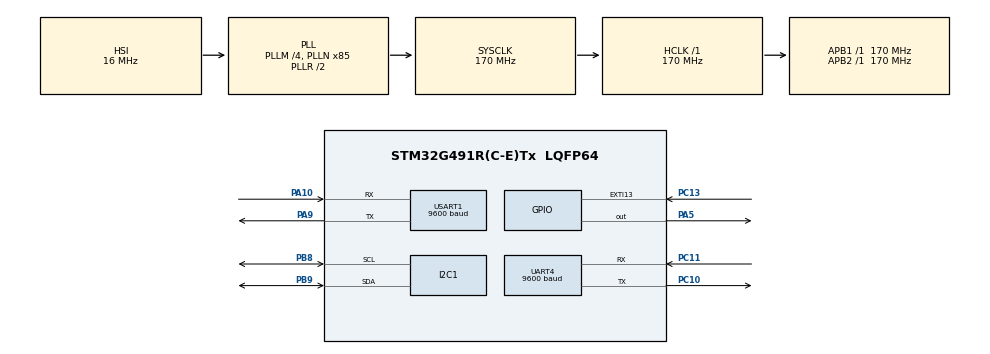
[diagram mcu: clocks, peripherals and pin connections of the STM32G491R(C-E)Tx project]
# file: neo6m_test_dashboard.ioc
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I2C1.Timing=0x40B285C2
Mcu.Family=STM32G4
Mcu.Name=STM32G491R(C-E)Tx
Mcu.Package=LQFP64
NUCLEO-G491RE.BUTTON=1
NUCLEO-G491RE.LD2=true
NUCLEO-G491RE.VCP=true
NVIC.EXTI15_10_IRQn=true\:0\:0\:false\:false\:true\:true\:true\:true
NVIC.PriorityGroup=NVIC_PRIORITYGROUP_4
NVIC.UART4_IRQn=true\:0\:0\:false\:false\:true\:true\:true\:true
NVIC.USART1_IRQn=true\:0\:0\:false\:false\:true\:true\:true\:true
PA10.Mode=Asynchronous
PA10.Signal=USART1_RX
PA13.GPIO_Label=T_SWDIO
PA13.Mode=Serial_Wire
PA13.Signal=SYS_JTMS-SWDIO
PA14.GPIO_Label=T_SWCLK
PA14.Mode=Serial_Wire
PA14.Signal=SYS_JTCK-SWCLK
PA2.Signal=LPUART1_TX
PA3.Signal=LPUART1_RX
PA5.Signal=GPIO_Output
PA9.Mode=Asynchronous
PA9.Signal=USART1_TX
PB3.GPIO_Label=T_SWO
PB3.Signal=SYS_JTDO-SWO
PB8-BOOT0.Mode=I2C
PB8-BOOT0.Signal=I2C1_SCL
PB9.Mode=I2C
PB9.Signal=I2C1_SDA
PC10.Mode=Asynchronous
PC10.Signal=UART4_TX
PC11.Mode=Asynchronous
PC11.Signal=UART4_RX
PC13.Signal=GPXTI13
PC14-OSC32_IN.GPIO_Label=RCC_OSC32_IN
PC14-OSC32_IN.Signal=RCC_OSC32_IN
PC15-OSC32_OUT.GPIO_Label=RCC_OSC32_OUT
PC15-OSC32_OUT.Signal=RCC_OSC32_OUT
PF0-OSC_IN.GPIO_Label=RCC_OSC_IN
PF0-OSC_IN.Signal=RCC_OSC_IN
PF1-OSC_OUT.GPIO_Label=RCC_OSC_OUT
PF1-OSC_OUT.Signal=RCC_OSC_OUT
ProjectManager.HeapSize=0x200
ProjectManager.StackSize=0x400
ProjectManager.TargetToolchain=STM32CubeIDE
RCC.ADC12Freq_Value=170000000
RCC.ADC345Freq_Value=170000000
RCC.AHBFreq_Value=170000000
RCC.APB1Freq_Value=170000000
RCC.APB1TimFreq_Value=170000000
RCC.APB2Freq_Value=170000000
RCC.APB2TimFreq_Value=170000000
RCC.CortexFreq_Value=170000000
RCC.EXTERNAL_CLOCK_VALUE=12288000
RCC.HCLKFreq_Value=170000000
RCC.HSE_VALUE=24000000
RCC.HSI48_VALUE=48000000
RCC.HSI_VALUE=16000000
RCC.LSE_VALUE=32768
RCC.PLLM=RCC_PLLM_DIV4
RCC.PLLN=85
RCC.RTCClockSelection=RCC_RTCCLKSOURCE_LSE
RCC.SYSCLKFreq_VALUE=170000000
RCC.SYSCLKSource=RCC_SYSCLKSOURCE_PLLCLK
RCC.USBFreq_Value=48000000
RCC.VCOOutputFreq_Value=340000000
UART4.BaudRate=9600
USART1.BaudRate=9600
USART1.VirtualMode-Asynchronous=VM_ASYNC
VP_NUCLEO-G491RE_VS_BSP_COMMON.Mode=COMMON
VP_SYS_VS_DBSignals.Mode=DisableDeadBatterySignals
board=NUCLEO-G491RE

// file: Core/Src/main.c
/* USER CODE BEGIN Header */
/**
  ******************************************************************************
  * @file           : main.c
  * @brief          : Robust GPS & Webhook System with Network Watchdog & LED Debug
  * @hardware       : STM32G491RE, SIM900A (UART1), NEO-6M (UART4), OLED (I2C1)
  ******************************************************************************
  */
/* USER CODE END Header */
#include "main.h"
#include <string.h>
#include "stdlib.h"
#include <stdio.h>

#define RX_BUF_SIZE 512
#define SSD1306_I2C_ADDR 0x78
#define BATCH_SIZE 10 // Number of readings to batch before POSTing

I2C_HandleTypeDef hi2c1;
UART_HandleTypeDef huart1;
UART_HandleTypeDef huart4;

volatile char sim_rx_buffer[RX_BUF_SIZE];
volatile uint16_t sim_rx_index = 0;
uint8_t sim_rx_byte;

/* 5x7 Font Matrix for OLED */
const uint8_t Font5x7[][5] = {
    {0x00, 0x00, 0x00, 0x00, 0x00}, {0x00, 0x00, 0x5F, 0x00, 0x00}, {0x00, 0x07, 0x00, 0x07, 0x00}, {0x14, 0x7F, 0x14, 0x7F, 0x14},
    {0x24, 0x2A, 0x7F, 0x2A, 0x12}, {0x23, 0x13, 0x08, 0x64, 0x62}, {0x36, 0x49, 0x55, 0x22, 0x50}, {0x00, 0x05, 0x03, 0x00, 0x00},
    {0x00, 0x1C, 0x22, 0x41, 0x00}, {0x00, 0x41, 0x22, 0x1C, 0x00}, {0x14, 0x08, 0x3E, 0x08, 0x14}, {0x08, 0x08, 0x3E, 0x08, 0x08},
    {0x00, 0x50, 0x30, 0x00, 0x00}, {0x08, 0x08, 0x08, 0x08, 0x08}, {0x00, 0x60, 0x60, 0x00, 0x00}, {0x20, 0x10, 0x08, 0x04, 0x02},
    {0x3E, 0x51, 0x49, 0x45, 0x3E}, {0x00, 0x42, 0x7F, 0x40, 0x00}, {0x42, 0x61, 0x51, 0x49, 0x46}, {0x21, 0x41, 0x45, 0x4B, 0x31},
    {0x18, 0x14, 0x12, 0x7F, 0x10}, {0x27, 0x45, 0x45, 0x45, 0x39}, {0x3C, 0x4A, 0x49, 0x49, 0x30}, {0x01, 0x71, 0x09, 0x05, 0x03},
    {0x36, 0x49, 0x49, 0x49, 0x36}, {0x06, 0x49, 0x49, 0x29, 0x1E}, {0x00, 0x36, 0x36, 0x00, 0x00}, {0x00, 0x56, 0x36, 0x00, 0x00},
    {0x08, 0x14, 0x22, 0x41, 0x00}, {0x24, 0x24, 0x24, 0x24, 0x24}, {0x00, 0x41, 0x22, 0x14, 0x08}, {0x02, 0x01, 0x51, 0x09, 0x06},
    {0x32, 0x49, 0x79, 0x41, 0x3E}, {0x7C, 0x12, 0x11, 0x12, 0x7C}, {0x7F, 0x49, 0x49, 0x49, 0x36}, {0x3E, 0x41, 0x41, 0x41, 0x22},
    {0x7F, 0x41, 0x41, 0x22, 0x1C}, {0x7F, 0x49, 0x49, 0x49, 0x41}, {0x7F, 0x09, 0x09, 0x09, 0x01}, {0x3E, 0x41, 0x49, 0x49, 0x7A},
    {0x7F, 0x08, 0x08, 0x08, 0x7F}, {0x00, 0x41, 0x7F, 0x41, 0x00}, {0x20, 0x40, 0x41, 0x3F, 0x01}, {0x7F, 0x08, 0x14, 0x22, 0x41},
    {0x7F, 0x40, 0x40, 0x40, 0x40}, {0x7F, 0x02, 0x0C, 0x02, 0x7F}, {0x7F, 0x04, 0x08, 0x10, 0x7F}, {0x3E, 0x41, 0x41, 0x41, 0x3E},
    {0x7F, 0x09, 0x09, 0x09, 0x06}, {0x3E, 0x41, 0x51, 0x21, 0x5E}, {0x7F, 0x09, 0x19, 0x29, 0x46}, {0x46, 0x49, 0x49, 0x49, 0x31},
    {0x01, 0x01, 0x7F, 0x01, 0x01}, {0x3F, 0x40, 0x40, 0x40, 0x3F}, {0x1F, 0x20, 0x40, 0x20, 0x1F}, {0x3F, 0x40, 0x38, 0x40, 0x3F},
    {0x63, 0x14, 0x08, 0x14, 0x63}, {0x07, 0x08, 0x70, 0x08, 0x07}, {0x61, 0x51, 0x49, 0x45, 0x43}
};

void SystemClock_Config(void);
static void MX_GPIO_Init(void);
static void MX_I2C1_Init(void);
static void MX_USART1_UART_Init(void);
static void MX_UART4_Init(void);

void OLED_WriteCmd(uint8_t cmd);
void OLED_Init(void);
void OLED_Clear(void);
void OLED_PrintString(const char* str, uint8_t page, uint8_t col);

void LED_Pulse(uint8_t count, uint32_t delay_ms);
void Flush_SIM_Buffer(void);
uint8_t send_sim_cmd(char *cmd, char *expected_response, uint32_t timeout);
uint8_t Ensure_Network(void);
uint8_t send_http_post(char *url, char *body);
void fetch_sim_time(char *date_out, char *time_out);
void fetch_gps_data(char *lat_out, char *lon_out);

/* USER CODE BEGIN 0 */

/* ================= LED DEBUG LOGIC ================= */
void LED_Pulse(uint8_t count, uint32_t delay_ms) {
    for (int i = 0; i < count; i++) {
        HAL_GPIO_WritePin(GPIOA, GPIO_PIN_5, GPIO_PIN_SET);
        HAL_Delay(delay_ms);
        HAL_GPIO_WritePin(GPIOA, GPIO_PIN_5, GPIO_PIN_RESET);
        if (i < count - 1) HAL_Delay(delay_ms);
    }
}

/* ================= OLED DRIVERS ================= */
void OLED_WriteCmd(uint8_t cmd) {
    HAL_I2C_Mem_Write(&hi2c1, SSD1306_I2C_ADDR, 0x00, 1, &cmd, 1, 20);
}

void OLED_Init(void) {
    HAL_Delay(100);
    OLED_WriteCmd(0xAE); OLED_WriteCmd(0x20); OLED_WriteCmd(0x10);
    OLED_WriteCmd(0xB0); OLED_WriteCmd(0x00); OLED_WriteCmd(0x10);
    OLED_WriteCmd(0xC8); OLED_WriteCmd(0xA1); OLED_WriteCmd(0x8D);
    OLED_WriteCmd(0x14); OLED_WriteCmd(0xAF);
    HAL_Delay(100);
    OLED_Clear();
}

void OLED_Clear(void) {
    uint8_t blank_buffer[128] = {0};
    for (uint8_t i = 0; i < 8; i++) {
        OLED_WriteCmd(0xB0 + i);
        OLED_WriteCmd(0x00);
        OLED_WriteCmd(0x10);
        HAL_I2C_Mem_Write(&hi2c1, SSD1306_I2C_ADDR, 0x40, 1, blank_buffer, 128, 50);
    }
}

void OLED_PrintString(const char* str, uint8_t page, uint8_t col) {
    while (*str) {
        char c = *str++;
        if (c < 32 || c > 90) {
            if (c >= 'a' && c <= 'z') c -= 32; else c = ' ';
        }
        uint8_t font_idx = c - 32;
        OLED_WriteCmd(0xB0 + page);
        OLED_WriteCmd(col & 0x0F);
        OLED_WriteCmd(0x10 | ((col >> 4) & 0x0F));
        HAL_I2C_Mem_Write(&hi2c1, SSD1306_I2C_ADDR, 0x40, 1, (uint8_t*)Font5x7[font_idx], 5, 20);
        col += 6;
        if (col > 122) break;
    }
}

/* ================= MODEM & GPS LOGIC ================= */
void Flush_SIM_Buffer(void) {
    __disable_irq();
    memset((void*)sim_rx_buffer, 0, RX_BUF_SIZE);
    sim_rx_index = 0;
    __enable_irq();
}

uint8_t send_sim_cmd(char *cmd, char *expected_response, uint32_t timeout) {
    Flush_SIM_Buffer();

    // Clear Overrun Error flags before starting a new command
    __HAL_UART_CLEAR_FLAG(&huart1, UART_CLEAR_OREF);
    __HAL_UART_FLUSH_DRREGISTER(&huart1);

    HAL_UART_Transmit(&huart1, (uint8_t*)cmd, strlen(cmd), 1000);
    uint32_t start_tick = HAL_GetTick();

    while ((HAL_GetTick() - start_tick) < timeout) {
        if (strstr((const char*)sim_rx_buffer, expected_response) != NULL) {
            HAL_Delay(100); // Let the modem finish printing the line
            return 1;
        }

        // WATCHDOG: If UART crashes due to an Overrun Error, clear it and restart listening
        if (__HAL_UART_GET_FLAG(&huart1, UART_FLAG_ORE)) {
            __HAL_UART_CLEAR_FLAG(&huart1, UART_CLEAR_OREF);
            HAL_UART_Receive_IT(&huart1, &sim_rx_byte, 1);
        }

        if (strstr((const char*)sim_rx_buffer, "ERROR") != NULL && strstr(cmd, "HTTPACTION") == NULL) {
            return 0;
        }
    }
    return 0;
}
void fetch_gps_data(char *lat_out, char *lon_out) {
    char rx_buf[128] = {0};
    uint16_t rx_idx = 0;
    uint8_t rx_byte;
    uint32_t start_tick = HAL_GetTick();

    __HAL_UART_CLEAR_FLAG(&huart4, UART_CLEAR_OREF);
    __HAL_UART_FLUSH_DRREGISTER(&huart4);

    OLED_PrintString("GETTING GPS...  ", 0, 0);
    LED_Pulse(1, 50);

    while ((HAL_GetTick() - start_tick) < 1500) { // Slightly longer GPS window
        if (HAL_UART_Receive(&huart4, &rx_byte, 1, 2) == HAL_OK) {
            if (rx_idx < 127) {
                rx_buf[rx_idx++] = rx_byte;
                rx_buf[rx_idx] = '\0';
            }

            if (rx_byte == '\n') {
                char *gga = strstr(rx_buf, "$GPGGA,");
                if (gga != NULL) {
                    char *time_end = strchr(gga + 7, ',');
                    if (time_end) {
                        char *lat_start = time_end + 1;
                        char *lat_end = strchr(lat_start, ',');

                        if (lat_end && (lat_end - lat_start > 1)) {
                            char *ns_start = lat_end + 1;
                            char *ns_end = strchr(ns_start, ',');
                            char *lon_start = ns_end + 1;
                            char *lon_end = strchr(lon_start, ',');

                            if (lon_end && (lon_end - lon_start > 1)) {
                                char *ew_start = lon_end + 1;

                                char temp_lat[15] = {0};
                                char temp_lon[15] = {0};
                                strncpy(temp_lat, lat_start, lat_end - lat_start);
                                strncpy(temp_lon, lon_start, lon_end - lon_start);

                                sprintf(lat_out, "%s %c", temp_lat, ns_start[0]);
                                sprintf(lon_out, "%s %c", temp_lon, ew_start[0]);
                                OLED_PrintString("GPS FIX OK!     ", 0, 0);
                                return;
                            }
                        }
                    }
                }
                rx_idx = 0;
                rx_buf[0] = '\0';
            }
        }
    }

    if(strcmp(lat_out, "") == 0 || strncmp(lat_out, "NO_FIX", 6) == 0) {
        strcpy(lat_out, "NO_FIX");
        strcpy(lon_out, "NO_FIX");
    }
    OLED_PrintString("NO GPS FIX.     ", 0, 0);
}

void fetch_sim_time(char *date_out, char *time_out) {
    if (send_sim_cmd("AT+CCLK?\r\n", "OK", 2000)) {
        char *p = strstr((const char*)sim_rx_buffer, "+CCLK: \"");
        if (p != NULL) {
            p += 8;
            if(strlen(p) >= 17) {
                char yy[3] = {p[0], p[1], '\0'};
                char mo[3] = {p[3], p[4], '\0'};
                char dd[3] = {p[6], p[7], '\0'};
                char hh[3] = {p[9], p[10], '\0'};
                char mi[3] = {p[12], p[13], '\0'};
                char ss[3] = {p[15], p[16], '\0'};

                sprintf(date_out, "%s-%s-20%s", dd, mo, yy);
                sprintf(time_out, "%s:%s:%s", hh, mi, ss);
                return;
            }
        }
    }
    strcpy(date_out, "00-00-0000");
    strcpy(time_out, "00:00:00");
}

/* WATCHDOG: Aggressive check for GPRS attachment and Context */
uint8_t Ensure_Network(void) {
    if (!send_sim_cmd("AT+SAPBR=2,1\r\n", "+SAPBR: 1,1", 2000)) {
        OLED_PrintString("NET DROPPED!    ", 7, 0);

        send_sim_cmd("AT+SAPBR=0,1\r\n", "OK", 2000); // Close broken context
        send_sim_cmd("AT+CGATT=1\r\n", "OK", 4000);   // Re-attach to GPRS

        if(send_sim_cmd("AT+SAPBR=1,1\r\n", "OK", 5000)) {
            OLED_PrintString("NET RESTORED!   ", 7, 0);
            return 1;
        } else {
            OLED_PrintString("NET REPAIR FAIL ", 7, 0);
            return 0;
        }
    }
    return 1; // Network active
}

uint8_t send_http_post(char *url, char *body) {
    char cmd[300];
    OLED_PrintString("POSTING DATA... ", 0, 0);
    OLED_PrintString("HTTP INIT...    ", 7, 0);

    // Hard reset HTTP Stack before new POST
    send_sim_cmd("AT+HTTPTERM\r\n", "OK", 1000);
    HAL_Delay(200);

    if (!send_sim_cmd("AT+HTTPINIT\r\n", "OK", 3000)) {
        OLED_PrintString("HTTP INIT FAIL  ", 7, 0);
        return 0;
    }

    send_sim_cmd("AT+HTTPPARA=\"CID\",1\r\n", "OK", 1000);

    sprintf(cmd, "AT+HTTPPARA=\"URL\",\"%s\"\r\n", url);
    if (!send_sim_cmd(cmd, "OK", 2000)) {
        OLED_PrintString("URL SET FAIL    ", 7, 0);
        send_sim_cmd("AT+HTTPTERM\r\n", "OK", 1000);
        return 0;
    }

    send_sim_cmd("AT+HTTPPARA=\"CONTENT\",\"application/json\"\r\n", "OK", 1000);

    sprintf(cmd, "AT+HTTPDATA=%d,10000\r\n", (int)strlen(body));
    if (send_sim_cmd(cmd, "DOWNLOAD", 4000)) {
            if (send_sim_cmd(body, "OK", 5000)) {

                OLED_PrintString("WAITING AWAIT...", 7, 0);

                // Search for a broader string to account for firmware differences
                if(send_sim_cmd("AT+HTTPACTION=1\r\n", "HTTPACTION:", 45000)) {
                    HAL_Delay(300); // Wait for full string to populate

                    char *ptr = strstr((const char*)sim_rx_buffer, "HTTPACTION:");
                    if (ptr) {
                        char *comma = strchr(ptr, ',');
                        if (comma) {
                            comma++; // Move past the comma
                            while (*comma == ' ') comma++; // Skip any spaces your firmware might inject

                            char code[4] = {0};
                            strncpy(code, comma, 3);

                            if (strncmp(code, "200", 3) == 0) {
                                OLED_PrintString("POST SUCCESS!   ", 0, 0);
                                OLED_PrintString("HTTP 200 OK     ", 7, 0);
                                send_sim_cmd("AT+HTTPTERM\r\n", "OK", 1000);
                                return 1;
                            } else {
                                char msg[17];
                                sprintf(msg, "HTTP ERR: %s   ", code);
                                OLED_PrintString(msg, 7, 0);
                            }
                        }
                    }
                } else {
                    OLED_PrintString("POST TIMEOUT.   ", 0, 0);
                    OLED_PrintString("ACTION FAIL     ", 7, 0);
                }
            } else {
                OLED_PrintString("DATA REJECTED.  ", 7, 0);
            }
        }else {
        OLED_PrintString("DOWNLOAD FAIL.  ", 7, 0);
    }

    send_sim_cmd("AT+HTTPTERM\r\n", "OK", 1000);
    return 0; // Fail Return
}
/* USER CODE END 0 */

int main(void)
{
  uint8_t batch_count = 0;
  HAL_Init();
  SystemClock_Config();
  MX_GPIO_Init();
  MX_I2C1_Init();
  MX_USART1_UART_Init();
  MX_UART4_Init();

  OLED_Init();
  OLED_PrintString("BOOTING SYS...  ", 0, 0);

  // Power up blink
  LED_Pulse(3, 200);

  HAL_UART_Receive_IT(&huart1, &sim_rx_byte, 1);

  int attempts = 0;
  OLED_PrintString("WAKING MODEM... ", 1, 0);
  while (!send_sim_cmd("AT\r\n", "OK", 1000) && attempts < 10) {
      attempts++;
      HAL_Delay(100);
  }

  send_sim_cmd("ATE0\r\n", "OK", 1000);
  send_sim_cmd("AT+CLTS=1\r\n", "OK", 1000);

  OLED_PrintString("SEARCHING NET...", 0, 0);
  OLED_PrintString("WAIT CREG/CGATT ", 1, 0);
  while (!send_sim_cmd("AT+CREG?\r\n", "+CREG: 0,1", 2000) &&
         !send_sim_cmd("AT+CREG?\r\n", "+CREG: 0,5", 2000)) {
      LED_Pulse(1, 50);
      HAL_Delay(400);
  }

  OLED_PrintString("GPRS CONFIG...  ", 0, 0);
  send_sim_cmd("AT+SAPBR=3,1,\"Contype\",\"GPRS\"\r\n", "OK", 1000);
  send_sim_cmd("AT+SAPBR=3,1,\"APN\",\"airtelgprs.com\"\r\n", "OK", 1000);

  OLED_PrintString("OPEN BEARER...  ", 0, 0);
  send_sim_cmd("AT+CGATT=1\r\n", "OK", 4000);

  if (!send_sim_cmd("AT+SAPBR=1,1\r\n", "OK", 5000)) {
      OLED_PrintString("GPRS BEARER FAIL", 1, 0);
      HAL_Delay(2000);
  } else {
      OLED_PrintString("NETWORK READY!  ", 1, 0);
      HAL_Delay(1000);
  }

  char webhook_url[] = "http://webhook.site/53020a65-7237-442e-9d17-a387ab8e596e";

  char dynamic_date[15] = "";
  char dynamic_time[15] = "";
  char gps_lat[25] = "NO_FIX";
  char gps_lon[25] = "NO_FIX";
  char url_msg[1000];
  char screen_buf[24];

  OLED_Clear();

  url_msg[0] = '\0';
  batch_count = 0;

    while (1)
    {
        fetch_sim_time(dynamic_date, dynamic_time);
        fetch_gps_data(gps_lat, gps_lon);

        // UI Update: Layout out beautifully across the 8 rows
        sprintf(screen_buf, "D:%s   ", dynamic_date); OLED_PrintString(screen_buf, 1, 0);
        sprintf(screen_buf, "T:%s   ", dynamic_time); OLED_PrintString(screen_buf, 2, 0);
        sprintf(screen_buf, "PACKET: %d/%d   ", batch_count + 1, BATCH_SIZE); OLED_PrintString(screen_buf, 4, 0);
        sprintf(screen_buf, "LT:%s ", gps_lat); OLED_PrintString(screen_buf, 5, 0);
        sprintf(screen_buf, "LN:%s ", gps_lon); OLED_PrintString(screen_buf, 6, 0);

        // Construct current reading fragment
        char fragment[100];
        sprintf(fragment, "{\"date\":\"%s\",\"time\":\"%s\",\"lat\":\"%s\",\"lon\":\"%s\"}",
                dynamic_date, dynamic_time, gps_lat, gps_lon);

        if (batch_count == 0) {
            // First item in batch: Initialize array
            snprintf(url_msg, sizeof(url_msg), "{\"data\":[%s", fragment);
            batch_count++;
        } else if (batch_count < BATCH_SIZE) {
            // Append comma and next reading
            strncat(url_msg, ",", sizeof(url_msg) - strlen(url_msg) - 1);
            strncat(url_msg, fragment, sizeof(url_msg) - strlen(url_msg) - 1);
            batch_count++;
        }

        // If batch is full, finalize and send
        if (batch_count == BATCH_SIZE) {
            strncat(url_msg, "]}", sizeof(url_msg) - strlen(url_msg) - 1);

            Ensure_Network();

            if (send_http_post(webhook_url, url_msg)) {
                HAL_GPIO_WritePin(GPIOA, GPIO_PIN_5, GPIO_PIN_SET);
                HAL_Delay(2000); // 2 Sec Solid LED on Success
                HAL_GPIO_WritePin(GPIOA, GPIO_PIN_5, GPIO_PIN_RESET);
            } else {
                LED_Pulse(10, 80); // Rapid Flash on Fail
            }

            // RESET memory for the next batch loop
            batch_count = 0;
            url_msg[0] = '\0';
        }

        HAL_Delay(2000); // Wait 2 seconds before grabbing next reading
    }
  return 0;
}

/* ================= INTERRUPTS ================= */
void HAL_UART_RxCpltCallback(UART_HandleTypeDef *huart) {
    if (huart->Instance == USART1) {
        // Prevent buffer deadlock: reset if it hits the limit
        if (sim_rx_index >= RX_BUF_SIZE - 2) {
            sim_rx_index = 0;
        }
        sim_rx_buffer[sim_rx_index++] = sim_rx_byte;
        ((char*)sim_rx_buffer)[sim_rx_index] = '\0';

        HAL_UART_Receive_IT(&huart1, &sim_rx_byte, 1);
    }
}
/* ================= HAL CONFIGURATIONS ================= */
void SystemClock_Config(void) {
  RCC_OscInitTypeDef RCC_OscInitStruct = {0};
  RCC_ClkInitTypeDef RCC_ClkInitStruct = {0};
  HAL_PWREx_ControlVoltageScaling(PWR_REGULATOR_VOLTAGE_SCALE1_BOOST);
  RCC_OscInitStruct.OscillatorType = RCC_OSCILLATORTYPE_HSI;
  RCC_OscInitStruct.HSIState = RCC_HSI_ON;
  RCC_OscInitStruct.HSICalibrationValue = RCC_HSICALIBRATION_DEFAULT;
  RCC_OscInitStruct.PLL.PLLState = RCC_PLL_ON;
  RCC_OscInitStruct.PLL.PLLSource = RCC_PLLSOURCE_HSI;
  RCC_OscInitStruct.PLL.PLLM = RCC_PLLM_DIV4;
  RCC_OscInitStruct.PLL.PLLN = 85;
  RCC_OscInitStruct.PLL.PLLP = RCC_PLLP_DIV2;
  RCC_OscInitStruct.PLL.PLLQ = RCC_PLLQ_DIV2;
  RCC_OscInitStruct.PLL.PLLR = RCC_PLLR_DIV2;
  HAL_RCC_OscConfig(&RCC_OscInitStruct);
  RCC_ClkInitStruct.ClockType = RCC_CLOCKTYPE_HCLK|RCC_CLOCKTYPE_SYSCLK|RCC_CLOCKTYPE_PCLK1|RCC_CLOCKTYPE_PCLK2;
  RCC_ClkInitStruct.SYSCLKSource = RCC_SYSCLKSOURCE_PLLCLK;
  RCC_ClkInitStruct.AHBCLKDivider = RCC_SYSCLK_DIV1;
  RCC_ClkInitStruct.APB1CLKDivider = RCC_HCLK_DIV1;
  RCC_ClkInitStruct.APB2CLKDivider = RCC_HCLK_DIV1;
  HAL_RCC_ClockConfig(&RCC_ClkInitStruct, FLASH_LATENCY_4);
}

static void MX_GPIO_Init(void) {
  GPIO_InitTypeDef GPIO_InitStruct = {0};

  __HAL_RCC_GPIOA_CLK_ENABLE();
  __HAL_RCC_GPIOC_CLK_ENABLE();

  HAL_GPIO_WritePin(GPIOA, GPIO_PIN_5, GPIO_PIN_RESET);
  GPIO_InitStruct.Pin = GPIO_PIN_5;
  GPIO_InitStruct.Mode = GPIO_MODE_OUTPUT_PP;
  GPIO_InitStruct.Pull = GPIO_NOPULL;
  GPIO_InitStruct.Speed = GPIO_SPEED_FREQ_LOW;
  HAL_GPIO_Init(GPIOA, &GPIO_InitStruct);
}

static void MX_I2C1_Init(void) {
  hi2c1.Instance = I2C1;
  hi2c1.Init.Timing = 0x40B285C2;
  hi2c1.Init.OwnAddress1 = 0;
  hi2c1.Init.AddressingMode = I2C_ADDRESSINGMODE_7BIT;
  hi2c1.Init.DualAddressMode = I2C_DUALADDRESS_DISABLE;
  hi2c1.Init.OwnAddress2 = 0;
  hi2c1.Init.OwnAddress2Masks = I2C_OA2_NOMASK;
  hi2c1.Init.GeneralCallMode = I2C_GENERALCALL_DISABLE;
  hi2c1.Init.NoStretchMode = I2C_NOSTRETCH_DISABLE;
  HAL_I2C_Init(&hi2c1);
  HAL_I2CEx_ConfigAnalogFilter(&hi2c1, I2C_ANALOGFILTER_ENABLE);
}

static void MX_USART1_UART_Init(void) {
  huart1.Instance = USART1;
  huart1.Init.BaudRate = 9600;
  huart1.Init.WordLength = UART_WORDLENGTH_8B;
  huart1.Init.StopBits = UART_STOPBITS_1;
  huart1.Init.Parity = UART_PARITY_NONE;
  huart1.Init.Mode = UART_MODE_TX_RX;
  huart1.Init.HwFlowCtl = UART_HWCONTROL_NONE;
  HAL_UART_Init(&huart1);
}

static void MX_UART4_Init(void) {
  huart4.Instance = UART4;
  huart4.Init.BaudRate = 9600;
  huart4.Init.WordLength = UART_WORDLENGTH_8B;
  huart4.Init.StopBits = UART_STOPBITS_1;
  huart4.Init.Parity = UART_PARITY_NONE;
  huart4.Init.Mode = UART_MODE_TX_RX;
  huart4.Init.HwFlowCtl = UART_HWCONTROL_NONE;
  HAL_UART_Init(&huart4);
}

void Error_Handler(void) { __disable_irq(); while (1) {} }
